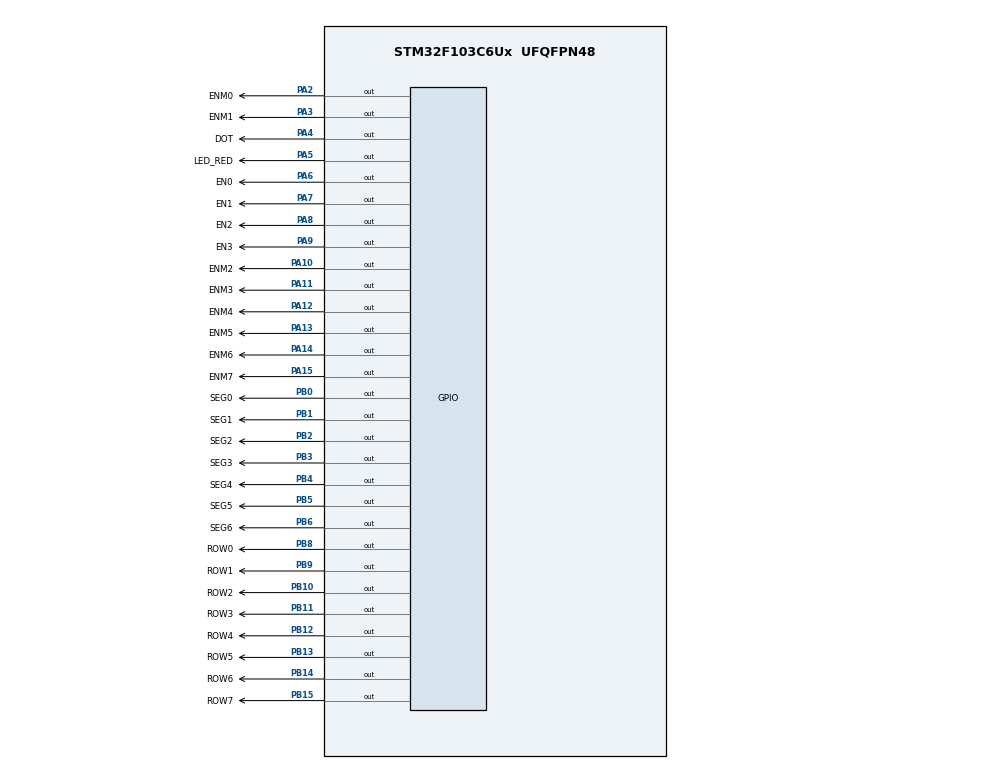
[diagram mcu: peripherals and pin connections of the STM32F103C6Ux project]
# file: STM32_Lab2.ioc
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Mcu.Family=STM32F1
Mcu.Name=STM32F103C6Ux
Mcu.Package=UFQFPN48
NVIC.PriorityGroup=NVIC_PRIORITYGROUP_4
NVIC.TIM2_IRQn=true\:0\:0\:false\:false\:true\:true\:true
PA10.GPIO_Label=ENM2
PA10.Signal=GPIO_Output
PA11.GPIO_Label=ENM3
PA11.Signal=GPIO_Output
PA12.GPIO_Label=ENM4
PA12.Signal=GPIO_Output
PA13.GPIO_Label=ENM5
PA13.Signal=GPIO_Output
PA14.GPIO_Label=ENM6
PA14.Signal=GPIO_Output
PA15.GPIO_Label=ENM7
PA15.Signal=GPIO_Output
PA2.GPIO_Label=ENM0
PA2.Signal=GPIO_Output
PA3.GPIO_Label=ENM1
PA3.Signal=GPIO_Output
PA4.GPIO_Label=DOT
PA4.Signal=GPIO_Output
PA5.GPIO_Label=LED_RED
PA5.Signal=GPIO_Output
PA6.GPIO_Label=EN0
PA6.Signal=GPIO_Output
PA7.GPIO_Label=EN1
PA7.Signal=GPIO_Output
PA8.GPIO_Label=EN2
PA8.Signal=GPIO_Output
PA9.GPIO_Label=EN3
PA9.Signal=GPIO_Output
PB0.GPIO_Label=SEG0
PB0.Signal=GPIO_Output
PB1.GPIO_Label=SEG1
PB1.Signal=GPIO_Output
PB10.GPIO_Label=ROW2
PB10.Signal=GPIO_Output
PB11.GPIO_Label=ROW3
PB11.Signal=GPIO_Output
PB12.GPIO_Label=ROW4
PB12.Signal=GPIO_Output
PB13.GPIO_Label=ROW5
PB13.Signal=GPIO_Output
PB14.GPIO_Label=ROW6
PB14.Signal=GPIO_Output
PB15.GPIO_Label=ROW7
PB15.Signal=GPIO_Output
PB2.GPIO_Label=SEG2
PB2.Signal=GPIO_Output
PB3.GPIO_Label=SEG3
PB3.Signal=GPIO_Output
PB4.GPIO_Label=SEG4
PB4.Signal=GPIO_Output
PB5.GPIO_Label=SEG5
PB5.Signal=GPIO_Output
PB6.GPIO_Label=SEG6
PB6.Signal=GPIO_Output
PB8.GPIO_Label=ROW0
PB8.Signal=GPIO_Output
PB9.GPIO_Label=ROW1
PB9.Signal=GPIO_Output
ProjectManager.HeapSize=0x200
ProjectManager.StackSize=0x400
ProjectManager.TargetToolchain=STM32CubeIDE
RCC.APB1Freq_Value=8000000
RCC.APB2Freq_Value=8000000
TIM2.Period=9
TIM2.Prescaler=7999
VP_SYS_VS_ND.Mode=No_Debug
VP_TIM2_VS_ClockSourceINT.Mode=Internal
board=custom

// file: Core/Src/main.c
/* USER CODE BEGIN Header */
/**
  ******************************************************************************
  * @file           : main.c
  * @brief          : Main program body
  ******************************************************************************
  * @attention
  *
  * <h2><center>&copy; Copyright (c) 2024 STMicroelectronics.
  * All rights reserved.</center></h2>
  *
  * This software component is licensed by ST under BSD 3-Clause license,
  * the "License"; You may not use this file except in compliance with the
  * License. You may obtain a copy of the License at:
  *                        opensource.org/licenses/BSD-3-Clause
  *
  ******************************************************************************
  */
/* USER CODE END Header */
#include "main.h"

/* USER CODE BEGIN Includes */
#include "software_timer.h"
/* USER CODE END Includes */

TIM_HandleTypeDef htim2;

void SystemClock_Config(void);
static void MX_GPIO_Init(void);
static void MX_TIM2_Init(void);

/* USER CODE BEGIN 0 */
void display7SEG(int num){
  	if(num==0){
  		HAL_GPIO_WritePin(SEG0_GPIO_Port, SEG0_Pin,0);
  		HAL_GPIO_WritePin(SEG1_GPIO_Port, SEG1_Pin,0);
  		HAL_GPIO_WritePin(SEG2_GPIO_Port, SEG2_Pin,0);
  		HAL_GPIO_WritePin(SEG3_GPIO_Port, SEG3_Pin,0);
  		HAL_GPIO_WritePin(SEG4_GPIO_Port, SEG4_Pin,0);
  		HAL_GPIO_WritePin(SEG5_GPIO_Port, SEG5_Pin,0);
  		HAL_GPIO_WritePin(SEG6_GPIO_Port, SEG6_Pin,1);
  	}
  	else if(num==1){
  		HAL_GPIO_WritePin(SEG0_GPIO_Port, SEG0_Pin,1);
  		HAL_GPIO_WritePin(SEG1_GPIO_Port, SEG1_Pin,0);
  		HAL_GPIO_WritePin(SEG2_GPIO_Port, SEG2_Pin,0);
  		HAL_GPIO_WritePin(SEG3_GPIO_Port, SEG3_Pin,1);
  		HAL_GPIO_WritePin(SEG4_GPIO_Port, SEG4_Pin,1);
  		HAL_GPIO_WritePin(SEG5_GPIO_Port, SEG5_Pin,1);
  		HAL_GPIO_WritePin(SEG6_GPIO_Port, SEG6_Pin,1);
  	}
  	else if(num==2){
  		HAL_GPIO_WritePin(SEG0_GPIO_Port, SEG0_Pin,0);
  		HAL_GPIO_WritePin(SEG1_GPIO_Port, SEG1_Pin,0);
  		HAL_GPIO_WritePin(SEG2_GPIO_Port, SEG2_Pin,1);
  		HAL_GPIO_WritePin(SEG3_GPIO_Port, SEG3_Pin,0);
  		HAL_GPIO_WritePin(SEG4_GPIO_Port, SEG4_Pin,0);
  		HAL_GPIO_WritePin(SEG5_GPIO_Port, SEG5_Pin,1);
  		HAL_GPIO_WritePin(SEG6_GPIO_Port, SEG6_Pin,0);
  	}
  	else if(num==3){
  		HAL_GPIO_WritePin(SEG0_GPIO_Port, SEG0_Pin,0);
  		HAL_GPIO_WritePin(SEG1_GPIO_Port, SEG1_Pin,0);
  		HAL_GPIO_WritePin(SEG2_GPIO_Port, SEG2_Pin,0);
  		HAL_GPIO_WritePin(SEG3_GPIO_Port, SEG3_Pin,0);
  		HAL_GPIO_WritePin(SEG4_GPIO_Port, SEG4_Pin,1);
  		HAL_GPIO_WritePin(SEG5_GPIO_Port, SEG5_Pin,1);
  		HAL_GPIO_WritePin(SEG6_GPIO_Port, SEG6_Pin,0);
  	}
  	else if(num==4){
  		HAL_GPIO_WritePin(SEG0_GPIO_Port, SEG0_Pin,1);
  		HAL_GPIO_WritePin(SEG1_GPIO_Port, SEG1_Pin,0);
  		HAL_GPIO_WritePin(SEG2_GPIO_Port, SEG2_Pin,0);
  		HAL_GPIO_WritePin(SEG3_GPIO_Port, SEG3_Pin,1);
  		HAL_GPIO_WritePin(SEG4_GPIO_Port, SEG4_Pin,1);
  		HAL_GPIO_WritePin(SEG5_GPIO_Port, SEG5_Pin,0);
  		HAL_GPIO_WritePin(SEG6_GPIO_Port, SEG6_Pin,0);
  	}
  	else if(num==5){
  		HAL_GPIO_WritePin(SEG0_GPIO_Port, SEG0_Pin,0);
  		HAL_GPIO_WritePin(SEG1_GPIO_Port, SEG1_Pin,1);
  		HAL_GPIO_WritePin(SEG2_GPIO_Port, SEG2_Pin,0);
  		HAL_GPIO_WritePin(SEG3_GPIO_Port, SEG3_Pin,0);
  		HAL_GPIO_WritePin(SEG4_GPIO_Port, SEG4_Pin,1);
  		HAL_GPIO_WritePin(SEG5_GPIO_Port, SEG5_Pin,0);
  		HAL_GPIO_WritePin(SEG6_GPIO_Port, SEG6_Pin,0);
  	}
  	else if(num==6){
  		HAL_GPIO_WritePin(SEG0_GPIO_Port, SEG0_Pin,0);
  		HAL_GPIO_WritePin(SEG1_GPIO_Port, SEG1_Pin,1);
  		HAL_GPIO_WritePin(SEG2_GPIO_Port, SEG2_Pin,0);
  		HAL_GPIO_WritePin(SEG3_GPIO_Port, SEG3_Pin,0);
  		HAL_GPIO_WritePin(SEG4_GPIO_Port, SEG4_Pin,0);
  		HAL_GPIO_WritePin(SEG5_GPIO_Port, SEG5_Pin,0);
  		HAL_GPIO_WritePin(SEG6_GPIO_Port, SEG6_Pin,0);
  	}
  	else if(num==7){
  		HAL_GPIO_WritePin(SEG0_GPIO_Port, SEG0_Pin,0);
  		HAL_GPIO_WritePin(SEG1_GPIO_Port, SEG1_Pin,0);
  		HAL_GPIO_WritePin(SEG2_GPIO_Port, SEG2_Pin,0);
  		HAL_GPIO_WritePin(SEG3_GPIO_Port, SEG3_Pin,1);
  		HAL_GPIO_WritePin(SEG4_GPIO_Port, SEG4_Pin,1);
  		HAL_GPIO_WritePin(SEG5_GPIO_Port, SEG5_Pin,1);
  		HAL_GPIO_WritePin(SEG6_GPIO_Port, SEG6_Pin,1);
  	}
  	else if(num==8){
  		HAL_GPIO_WritePin(SEG0_GPIO_Port, SEG0_Pin,0);
  		HAL_GPIO_WritePin(SEG1_GPIO_Port, SEG1_Pin,0);
  		HAL_GPIO_WritePin(SEG2_GPIO_Port, SEG2_Pin,0);
  		HAL_GPIO_WritePin(SEG3_GPIO_Port, SEG3_Pin,0);
  		HAL_GPIO_WritePin(SEG4_GPIO_Port, SEG4_Pin,0);
  		HAL_GPIO_WritePin(SEG5_GPIO_Port, SEG5_Pin,0);
  		HAL_GPIO_WritePin(SEG6_GPIO_Port, SEG6_Pin,0);
  	}
  	else {
  		HAL_GPIO_WritePin(SEG0_GPIO_Port, SEG0_Pin,0);
  		HAL_GPIO_WritePin(SEG1_GPIO_Port, SEG1_Pin,0);
  		HAL_GPIO_WritePin(SEG2_GPIO_Port, SEG2_Pin,0);
  		HAL_GPIO_WritePin(SEG3_GPIO_Port, SEG3_Pin,0);
  		HAL_GPIO_WritePin(SEG4_GPIO_Port, SEG4_Pin,1);
  		HAL_GPIO_WritePin(SEG5_GPIO_Port, SEG5_Pin,0);
  		HAL_GPIO_WritePin(SEG6_GPIO_Port, SEG6_Pin,0);
  	}

  }
const int MAX_LED = 4;
int index_led = 0;
int led_buffer [4] = {1 , 2 , 3 , 4};
void update7SEG ( int index ) {
	switch ( index ) {
	case 0:
		  HAL_GPIO_WritePin(EN1_GPIO_Port, EN1_Pin,1);
		  HAL_GPIO_WritePin(EN0_GPIO_Port, EN0_Pin,0);
		  HAL_GPIO_WritePin(EN2_GPIO_Port, EN2_Pin,1);
		  HAL_GPIO_WritePin(EN3_GPIO_Port, EN3_Pin,1);
		display7SEG(led_buffer[0]);
		break;
	case 1:
		  HAL_GPIO_WritePin(EN0_GPIO_Port, EN0_Pin,1);
		  HAL_GPIO_WritePin(EN1_GPIO_Port, EN1_Pin,0);
		  HAL_GPIO_WritePin(EN2_GPIO_Port, EN2_Pin,1);
		  HAL_GPIO_WritePin(EN3_GPIO_Port, EN3_Pin,1);
		display7SEG(led_buffer[1]);
		break;
	case 2:
		  HAL_GPIO_WritePin(EN0_GPIO_Port, EN0_Pin,1);
		  HAL_GPIO_WritePin(EN1_GPIO_Port, EN1_Pin,1);
		  HAL_GPIO_WritePin(EN2_GPIO_Port, EN2_Pin,0);
		  HAL_GPIO_WritePin(EN3_GPIO_Port, EN3_Pin,1);
		display7SEG(led_buffer[2]);
		break;
	case 3:
		  HAL_GPIO_WritePin(EN0_GPIO_Port, EN0_Pin,1);
		  HAL_GPIO_WritePin(EN1_GPIO_Port, EN1_Pin,1);
		  HAL_GPIO_WritePin(EN2_GPIO_Port, EN2_Pin,1);
		  HAL_GPIO_WritePin(EN3_GPIO_Port, EN3_Pin,0);
		display7SEG(led_buffer[3]);
		break;
	default:
		break;
	}
	}
void updateClockBuffer (int hour,int minute) {
	if(hour<10){
			led_buffer[0]=0;
			led_buffer[1]=hour;
	}
	else if((hour>=10)){
		led_buffer[0]=hour/10;
		led_buffer[1]=hour%10;
	}
	if(minute<10){
		led_buffer[2]=0;
		led_buffer[3]=minute;
	}
	else if(minute>=10){
		led_buffer[2]=minute/10;
		led_buffer[3]=minute%10;
	}
}
int timer0_counter=0;
int timer0_flag=0;
int TIMER0_CYCLE=10;
	void setTimer0(int duration){
		timer0_counter=duration/TIMER0_CYCLE;
		timer0_flag=0;
	}
	void timer_run(){
		if(timer0_counter>0){
			timer0_counter--;
			if(timer0_counter==0)timer0_flag=1;
		}
	}
/* USER CODE END 0 */

int main(void)
{

  /* MCU Configuration--------------------------------------------------------*/

  /* Reset of all peripherals, Initializes the Flash interface and the Systick. */
  HAL_Init();

  /* Configure the system clock */
  SystemClock_Config();

  /* Initialize all configured peripherals */
  MX_GPIO_Init();
  MX_TIM2_Init();
  /* USER CODE BEGIN 2 */
HAL_TIM_Base_Start_IT(&htim2);
  /* USER CODE END 2 */

  /* Infinite loop */
  /* USER CODE BEGIN WHILE */
setTimer1(25);
setTimer2(100);
setTimer0(20);
int state=0;
int hour = 15 , minute = 8 , second = 50;
  while (1)
  {
	  if(timer0_flag==1){
		  second ++;
		 	  if(second>=60){
		 		  second=0;
		 		  minute++;
		 	  }
		 	  if(minute>=60){
		 		  minute=0;
		 		  hour++;
		 	  }
		 	  if(hour>=24){
		 		  hour=0;
		 	  }
		 	  updateClockBuffer (hour,minute) ;
		 	  setTimer0(1000);
	  }

	  if(timer1_flag==1){
	  		  switch(state){
	  		  case 0:
	  			  update7SEG(index_led);
	  			  index_led=1;
	  			  state=1;
	  			  setTimer1(25);
	  		  break;
	  		  case 1:
	  			  update7SEG(index_led);
	  			  index_led=2;
	  			  state=2;
	  			  setTimer1(25);
	  			  break;
	  		  default:
	  			  break;
	  		  case 2:
	  			  update7SEG(index_led);
	  			  index_led=3;
	  			  state=3;
	  			  setTimer1(25);
	  			  break;
	  		  case 3:
	  			  update7SEG(index_led);
	  			  index_led=0;
	  			  state=0;
	  			  setTimer1(25);
	  			  break;
	  	  }
	  	  }
	  	  if(timer2_flag==1){
	  		  setTimer2(100);
	  		  HAL_GPIO_TogglePin(DOT_GPIO_Port, DOT_Pin);
	  	  }
    /* USER CODE END WHILE */

  }
}

void SystemClock_Config(void)
{
  RCC_OscInitTypeDef RCC_OscInitStruct = {0};
  RCC_ClkInitTypeDef RCC_ClkInitStruct = {0};

  /** Initializes the RCC Oscillators according to the specified parameters
  * in the RCC_OscInitTypeDef structure.
  */
  RCC_OscInitStruct.OscillatorType = RCC_OSCILLATORTYPE_HSI;
  RCC_OscInitStruct.HSIState = RCC_HSI_ON;
  RCC_OscInitStruct.HSICalibrationValue = RCC_HSICALIBRATION_DEFAULT;
  RCC_OscInitStruct.PLL.PLLState = RCC_PLL_NONE;
  if (HAL_RCC_OscConfig(&RCC_OscInitStruct) != HAL_OK)
  {
    Error_Handler();
  }
  /** Initializes the CPU, AHB and APB buses clocks
  */
  RCC_ClkInitStruct.ClockType = RCC_CLOCKTYPE_HCLK|RCC_CLOCKTYPE_SYSCLK
                              |RCC_CLOCKTYPE_PCLK1|RCC_CLOCKTYPE_PCLK2;
  RCC_ClkInitStruct.SYSCLKSource = RCC_SYSCLKSOURCE_HSI;
  RCC_ClkInitStruct.AHBCLKDivider = RCC_SYSCLK_DIV1;
  RCC_ClkInitStruct.APB1CLKDivider = RCC_HCLK_DIV1;
  RCC_ClkInitStruct.APB2CLKDivider = RCC_HCLK_DIV1;

  if (HAL_RCC_ClockConfig(&RCC_ClkInitStruct, FLASH_LATENCY_0) != HAL_OK)
  {
    Error_Handler();
  }
}

static void MX_TIM2_Init(void)
{

  TIM_ClockConfigTypeDef sClockSourceConfig = {0};
  TIM_MasterConfigTypeDef sMasterConfig = {0};

  htim2.Instance = TIM2;
  htim2.Init.Prescaler = 7999;
  htim2.Init.CounterMode = TIM_COUNTERMODE_UP;
  htim2.Init.Period = 9;
  htim2.Init.ClockDivision = TIM_CLOCKDIVISION_DIV1;
  htim2.Init.AutoReloadPreload = TIM_AUTORELOAD_PRELOAD_DISABLE;
  if (HAL_TIM_Base_Init(&htim2) != HAL_OK)
  {
    Error_Handler();
  }
  sClockSourceConfig.ClockSource = TIM_CLOCKSOURCE_INTERNAL;
  if (HAL_TIM_ConfigClockSource(&htim2, &sClockSourceConfig) != HAL_OK)
  {
    Error_Handler();
  }
  sMasterConfig.MasterOutputTrigger = TIM_TRGO_RESET;
  sMasterConfig.MasterSlaveMode = TIM_MASTERSLAVEMODE_DISABLE;
  if (HAL_TIMEx_MasterConfigSynchronization(&htim2, &sMasterConfig) != HAL_OK)
  {
    Error_Handler();
  }

}

static void MX_GPIO_Init(void)
{
  GPIO_InitTypeDef GPIO_InitStruct = {0};

  /* GPIO Ports Clock Enable */
  __HAL_RCC_GPIOA_CLK_ENABLE();
  __HAL_RCC_GPIOB_CLK_ENABLE();

  /*Configure GPIO pin Output Level */
  HAL_GPIO_WritePin(GPIOA, ENM0_Pin|ENM1_Pin|DOT_Pin|LED_RED_Pin
                          |EN0_Pin|EN1_Pin|EN2_Pin|EN3_Pin
                          |ENM2_Pin|ENM3_Pin|ENM4_Pin|ENM5_Pin
                          |ENM6_Pin|ENM7_Pin, GPIO_PIN_RESET);

  /*Configure GPIO pin Output Level */
  HAL_GPIO_WritePin(GPIOB, SEG0_Pin|SEG1_Pin|SEG2_Pin|ROW2_Pin
                          |ROW3_Pin|ROW4_Pin|ROW5_Pin|ROW6_Pin
                          |ROW7_Pin|SEG3_Pin|SEG4_Pin|SEG5_Pin
                          |SEG6_Pin|ROW0_Pin|ROW1_Pin, GPIO_PIN_RESET);

  /*Configure GPIO pins : ENM0_Pin ENM1_Pin DOT_Pin LED_RED_Pin
                           EN0_Pin EN1_Pin EN2_Pin EN3_Pin
                           ENM2_Pin ENM3_Pin ENM4_Pin ENM5_Pin
                           ENM6_Pin ENM7_Pin */
  GPIO_InitStruct.Pin = ENM0_Pin|ENM1_Pin|DOT_Pin|LED_RED_Pin
                          |EN0_Pin|EN1_Pin|EN2_Pin|EN3_Pin
                          |ENM2_Pin|ENM3_Pin|ENM4_Pin|ENM5_Pin
                          |ENM6_Pin|ENM7_Pin;
  GPIO_InitStruct.Mode = GPIO_MODE_OUTPUT_PP;
  GPIO_InitStruct.Pull = GPIO_NOPULL;
  GPIO_InitStruct.Speed = GPIO_SPEED_FREQ_LOW;
  HAL_GPIO_Init(GPIOA, &GPIO_InitStruct);

  /*Configure GPIO pins : SEG0_Pin SEG1_Pin SEG2_Pin ROW2_Pin
                           ROW3_Pin ROW4_Pin ROW5_Pin ROW6_Pin
                           ROW7_Pin SEG3_Pin SEG4_Pin SEG5_Pin
                           SEG6_Pin ROW0_Pin ROW1_Pin */
  GPIO_InitStruct.Pin = SEG0_Pin|SEG1_Pin|SEG2_Pin|ROW2_Pin
                          |ROW3_Pin|ROW4_Pin|ROW5_Pin|ROW6_Pin
                          |ROW7_Pin|SEG3_Pin|SEG4_Pin|SEG5_Pin
                          |SEG6_Pin|ROW0_Pin|ROW1_Pin;
  GPIO_InitStruct.Mode = GPIO_MODE_OUTPUT_PP;
  GPIO_InitStruct.Pull = GPIO_NOPULL;
  GPIO_InitStruct.Speed = GPIO_SPEED_FREQ_LOW;
  HAL_GPIO_Init(GPIOB, &GPIO_InitStruct);

}

/* USER CODE BEGIN 4 */

void HAL_TIM_PeriodElapsedCallback(TIM_HandleTypeDef *htim){

	  timer_run();
	timerRun1();
	timerRun2();
}
/* USER CODE END 4 */

void Error_Handler(void)
{
  __disable_irq();
  while (1)
  {
  }
}

/************************ (C) COPYRIGHT STMicroelectronics *****END OF FILE****/
